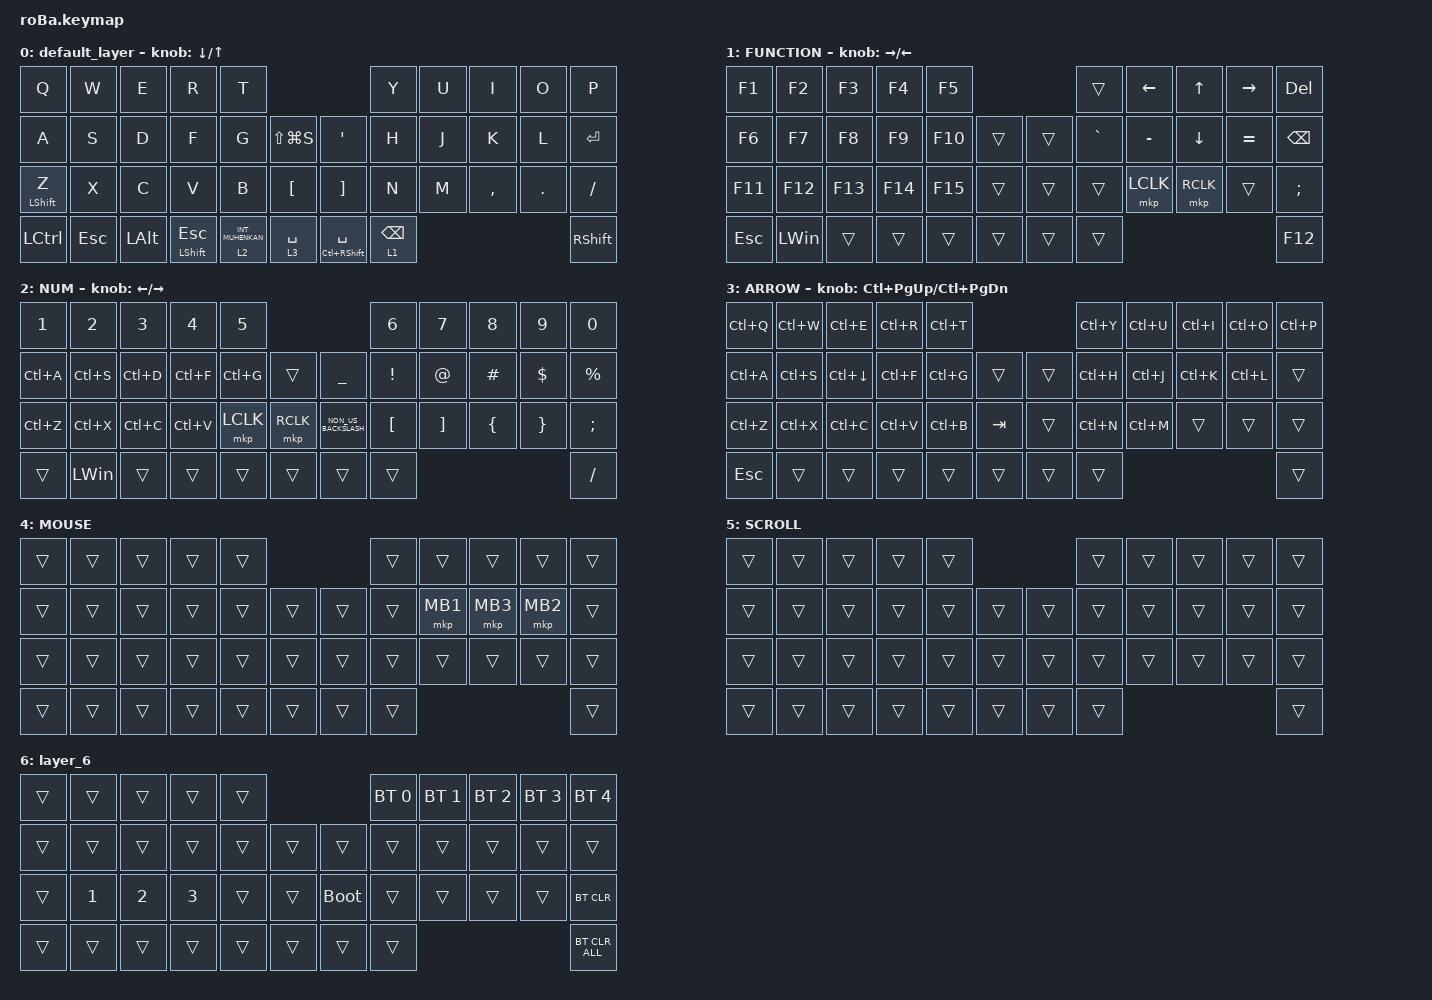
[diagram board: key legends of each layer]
#include <behaviors.dtsi>
#include <dt-bindings/zmk/bt.h>
#include <dt-bindings/zmk/keys.h>
#include <dt-bindings/zmk/pointing.h>

#define MOUSE 4
#define SCROLL 5
#define NUM 6

&mt {
    flavor = "balanced";
    quick-tap-ms = <0>;
    tapping-term-ms = <300>;
};

/ {
    combos {
        compatible = "zmk,combos";

        tab {
            bindings = <&kp TAB>;
            key-positions = <11 12>;
        };

        shift_tab {
            bindings = <&kp LS(TAB)>;
            key-positions = <12 13>;
        };

        muhennkann {
            bindings = <&to_layer_0 TAB>;
            key-positions = <11 10>;
        };

        double_quotation {
            bindings = <&kp DOUBLE_QUOTES>;
            key-positions = <20 21>;
        };

        eq {
            bindings = <&kp EQUAL>;
            key-positions = <24 25>;
        };
    };

    macros {
        to_layer_0: to_layer_0 {
            compatible = "zmk,behavior-macro-one-param";
            #binding-cells = <1>;
            bindings = <&to 0 &macro_param_1to1 &kp MACRO_PLACEHOLDER>;
            label = "TO_LAYER_0";
        };
    };

    behaviors {
        lt_to_layer_0: lt_to_layer_0 {
            compatible = "zmk,behavior-hold-tap";
            label = "LAYER_TAP_TO_0";
            bindings = <&mo>, <&to_layer_0>;

            #binding-cells = <2>;
            tapping-term-ms = <300>;
        };
    };

    keymap {
        compatible = "zmk,keymap";

        default_layer {
            bindings = <
&kp Q             &kp W    &kp E         &kp R                  &kp T                                                                      &kp Y            &kp U  &kp I      &kp O    &kp P
&kp A             &kp S    &kp D         &kp F                  &kp G               &kp LS(LG(S))               &kp SQT                    &kp H            &kp J  &kp K      &kp L    &kp RETURN
&mt LEFT_SHIFT Z  &kp X    &kp C         &kp V                  &kp B               &kp LEFT_BRACKET            &kp RIGHT_BRACKET          &kp N            &kp M  &kp COMMA  &kp DOT  &kp SLASH
&kp LCTRL         &kp ESC  &kp LEFT_ALT  &mt LEFT_SHIFT ESCAPE  &lt 2 INT_MUHENKAN  &lt_to_layer_0 3 SPACE      &mt LC(RIGHT_SHIFT) SPACE  &lt 1 BACKSPACE                             &kp RIGHT_SHIFT
            >;

            sensor-bindings = <&inc_dec_kp DOWN UP>;
        };

        FUNCTION {
            bindings = <
&kp F1   &kp F2        &kp F3   &kp F4   &kp F5                       &trans     &kp LEFT   &kp UP     &kp RIGHT  &kp DELETE
&kp F6   &kp F7        &kp F8   &kp F9   &kp F10  &trans      &trans  &kp GRAVE  &kp MINUS  &kp DOWN   &kp EQUAL  &kp BACKSPACE
&kp F11  &kp F12       &kp F13  &kp F14  &kp F15  &trans      &trans  &trans     &mkp LCLK  &mkp RCLK  &trans     &kp SEMICOLON
&kp ESC  &kp LEFT_WIN  &trans   &trans   &trans   &trans      &trans  &trans                                      &kp F12
            >;

            sensor-bindings = <&inc_dec_kp RIGHT LEFT>;
        };

        NUM {
            bindings = <
&kp N1     &kp N2        &kp N3     &kp N4     &kp N5                                          &kp N6            &kp N7             &kp N8          &kp N9           &kp N0
&kp LC(A)  &kp LC(S)     &kp LC(D)  &kp LC(F)  &kp LC(G)  &trans         &kp UNDERSCORE        &kp EXCLAMATION   &kp AT_SIGN        &kp HASH        &kp DOLLAR       &kp PERCENT
&kp LC(Z)  &kp LC(X)     &kp LC(C)  &kp LC(V)  &mkp LCLK  &mkp RCLK      &kp NON_US_BACKSLASH  &kp LEFT_BRACKET  &kp RIGHT_BRACKET  &kp LEFT_BRACE  &kp RIGHT_BRACE  &kp SEMICOLON
&trans     &kp LEFT_WIN  &trans     &trans     &trans     &trans         &trans                &trans                                                                &kp SLASH
            >;

            sensor-bindings = <&inc_dec_kp LEFT RIGHT>;
        };

        ARROW {
            bindings = <
&kp LC(Q)  &kp LC(W)  &kp LC(E)           &kp LC(R)  &kp LC(T)                       &kp LC(Y)  &kp LC(U)  &kp LC(I)  &kp LC(O)  &kp LC(P)
&kp LC(A)  &kp LC(S)  &kp LC(DOWN_ARROW)  &kp LC(F)  &kp LC(G)  &trans       &trans  &kp LC(H)  &kp LC(J)  &kp LC(K)  &kp LC(L)  &trans
&kp LC(Z)  &kp LC(X)  &kp LC(C)           &kp LC(V)  &kp LC(B)  &kp TAB      &trans  &kp LC(N)  &kp LC(M)  &trans     &trans     &trans
&kp ESC    &trans     &trans              &trans     &trans     &trans       &trans  &trans                                      &trans
            >;

            sensor-bindings = <&inc_dec_kp LC(PAGE_UP) LC(PAGE_DOWN)>;
        };

        MOUSE {
            bindings = <
&trans  &trans  &trans  &trans  &trans                      &trans  &trans    &trans    &trans    &trans
&trans  &trans  &trans  &trans  &trans  &trans      &trans  &trans  &mkp MB1  &mkp MB3  &mkp MB2  &trans
&trans  &trans  &trans  &trans  &trans  &trans      &trans  &trans  &trans    &trans    &trans    &trans
&trans  &trans  &trans  &trans  &trans  &trans      &trans  &trans                                &trans
            >;
        };

        SCROLL {
            bindings = <
&trans  &trans  &trans  &trans  &trans                      &trans  &trans  &trans  &trans  &trans
&trans  &trans  &trans  &trans  &trans  &trans      &trans  &trans  &trans  &trans  &trans  &trans
&trans  &trans  &trans  &trans  &trans  &trans      &trans  &trans  &trans  &trans  &trans  &trans
&trans  &trans  &trans  &trans  &trans  &trans      &trans  &trans                          &trans
            >;
        };

        layer_6 {
            bindings = <
&trans  &trans        &trans        &trans        &trans                           &bt BT_SEL 0  &bt BT_SEL 1  &bt BT_SEL 2  &bt BT_SEL 3  &bt BT_SEL 4
&trans  &trans        &trans        &trans        &trans  &trans      &trans       &trans        &trans        &trans        &trans        &trans
&trans  &kp NUMBER_1  &kp NUMBER_2  &kp NUMBER_3  &trans  &trans      &bootloader  &trans        &trans        &trans        &trans        &bt BT_CLR
&trans  &trans        &trans        &trans        &trans  &trans      &trans       &trans                                                  &bt BT_CLR_ALL
            >;
        };
    };
};
